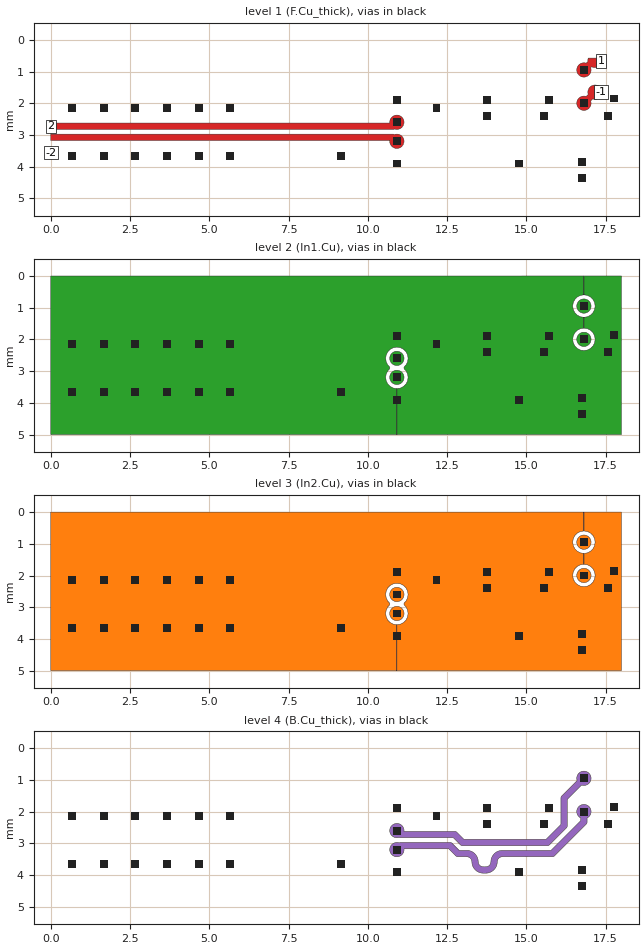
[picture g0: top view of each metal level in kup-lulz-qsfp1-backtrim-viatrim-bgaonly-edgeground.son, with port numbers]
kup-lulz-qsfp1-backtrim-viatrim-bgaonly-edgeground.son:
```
FTYP SONPROJ 19 ! Sonnet Project File
VER 18.56
HEADER
LIC antikernel2.1.61468
DAT 03/17/2024 00:32:26
BUILT_BY_CREATED dxf 18.56 03/15/2024 05:41:27
BUILT_BY_SAVED sonnet 18.56
MDATE 03/17/2024 00:32:26
HDATE 03/17/2024 00:32:26
ANN Created by dxfgeo, Sonnet Software Inc.
END HEADER
DIM
ANG DEG
CAP PF
CON /OH
FREQ GHZ
IND NH
LNG MM
RES OH
END DIM
CONTROL
VARSWP
OPTIONS  -dj
SPEED 1
CACHE_ABS 2
Q_ACC N
END CONTROL
GEO
TMET "Lossless" 0 SUP 0 0 0 0
BMET "Lossless" 0 SUP 0 0 0 0
MET "Copper_1oz+plated_thick_up" 1 TMM 58000000 0.5 0.0432 2
MET "Copper_1oz+plated_thin" 4 NOR 58000000 0.5 0.0432 
MET "Copper_0.5oz_thin" 2 NOR 58000000 0.5 0.0175 
MET "Copper_1oz+plated_thick_down" 3 TMM 58000000 0.5 0.0432 2 CDVY TDWN
BOX 6 18 5 1440 400 20 0
      10 1 1 0 0 0 0 "Air"
      0.05 3.5 1 0.02 0 0 0 "Soldermask"
      0.2021 3.61 1 0.0092 0 0 0 "Isola_FR408HR"
      1.1938 3.61 1 0.0092 0 0 0 "Isola_FR408HR"
      0.2021 3.61 1 0.0092 0 0 0 "Isola_FR408HR"
      0.05 3.5 1 0.02 0 0 0 "Soldermask"
      10 1 1 0 0 0 0 "Air"
TECHLAY METAL F.Cu_thick L1D0 -1 -65534 CAD F.Cu drawing 
1 0 0 N 2148 1 1 100 100 0 0 0 Y
END
END
TECHLAY VIA Via1 L5D0 -7 -65534 CAD Via1 drawing 
VIA POLYGON
1 0 -1 N 2416 1 1 100 100 0 0 0 Y
TOLEVEL 4 RING NOCOVERS
END
END
TECHLAY METAL F.Cu_thin <UNSPECIFIED> -2 -65534 CAD F.Cu_thin drawing 
1 0 1 N 2160 1 1 100 100 0 0 0 Y
END
END
TECHLAY METAL In1.Cu L2D0 -3 -65534 CAD In1.Cu drawing 
2 0 2 N 2163 1 1 100 100 0 0 0 Y
END
END
TECHLAY METAL In2.Cu L3D0 -4 -65534 CAD In2.Cu drawing 
3 0 2 N 2166 1 1 100 100 0 0 0 Y
END
END
TECHLAY METAL B.Cu_thick L4D0 -5 -65534 CAD B.Cu drawing 
4 0 3 N 2169 1 1 100 100 0 0 0 Y
END
END
TECHLAY METAL B.Cu_thin <UNSPECIFIED> -6 -65534 CAD B.Cu_thin drawing 
4 0 1 N 2171 1 1 100 100 0 0 0 Y
END
END
LORGN 0 5 U 
POR1 CUP Auto
GNDREF AUTO
TERMW FEED
POLY 2073 1
35
1 100 0 0 0 17.359 0.66975 
CUPGRP "Auto" LOCAL
ID 2412
END
POR1 CUP Auto
GNDREF AUTO
TERMW FEED
POLY 2074 1
33
-1 100 0 0 0 17.359 1.648 
CUPGRP "Auto" LOCAL
ID 2413
END
POR1 BOX
POLY 2212 1
49
2 100 0 0 0 0 2.723 
POR1 BOX
POLY 2213 1
40
-2 100 0 0 0 0 3.073 
NUM 45
1 81 0 N 2073 1 1 100 100 0 0 0 Y
TLAYNAM F.Cu_thick INH
16.85 1.171
16.872 1.166
16.893 1.16
16.913 1.151
16.933 1.141
16.951 1.129
16.968 1.115
16.984 1.099
16.998 1.082
17.01 1.064
17.02 1.044
17.029 1.024
17.035 1.003
17.04 0.981
17.042 0.959
17.042 0.937
17.04 0.915
17.035 0.893
17.03 0.876
17.06 0.846
17.071 0.851
17.091 0.86
17.112 0.866
17.134 0.871
17.156 0.873
17.178 0.873
17.2 0.871
17.222 0.866
17.243 0.86
17.263 0.851
17.283 0.841
17.301 0.829
17.318 0.815
17.334 0.799
17.348 0.782
17.359 0.7655
17.359 0.574
16.95442857 0.574
16.949 0.593
16.944 0.615
16.942 0.637
16.942 0.659
16.944 0.68
16.889 0.735
16.872 0.73
16.85 0.725
16.828 0.723
16.806 0.723
16.784 0.725
16.762 0.73
16.741 0.736
16.721 0.745
16.701 0.755
16.683 0.767
16.666 0.781
16.65 0.797
16.636 0.814
16.624 0.832
16.614 0.852
16.605 0.872
16.599 0.893
16.594 0.915
16.592 0.937
16.592 0.959
16.594 0.981
16.599 1.003
16.605 1.024
16.614 1.044
16.624 1.064
16.636 1.082
16.65 1.099
16.666 1.115
16.683 1.129
16.701 1.141
16.721 1.151
16.741 1.16
16.762 1.166
16.784 1.171
16.806 1.173
16.828 1.173
16.85 1.171
END
1 103 0 N 2074 1 1 100 100 0 0 0 Y
TLAYNAM F.Cu_thick INH
16.85 2.221
16.872 2.216
16.893 2.21
16.913 2.201
16.933 2.191
16.951 2.179
16.968 2.165
16.984 2.149
16.998 2.132
17.01 2.114
17.02 2.094
17.029 2.074
17.035 2.053
17.04 2.031
17.042 2.009
17.042 1.987
17.04 1.965
17.035 1.943
17.03 1.926
17.095 1.861
17.112 1.866
17.134 1.871
17.156 1.873
17.178 1.873
17.2 1.871
17.222 1.866
17.243 1.86
17.263 1.851
17.283 1.841
17.301 1.829
17.318 1.815
17.334 1.799
17.348 1.782
17.359 1.7655
17.359 1.5305
17.348 1.514
17.334 1.497
17.318 1.481
17.301 1.467
17.283 1.455
17.263 1.445
17.243 1.436
17.222 1.43
17.2 1.425
17.178 1.423
17.156 1.423
17.134 1.425
17.112 1.43
17.091 1.436
17.071 1.445
17.051 1.455
17.033 1.467
17.016 1.481
17 1.497
16.986 1.514
16.974 1.532
16.964 1.552
16.955 1.572
16.949 1.593
16.944 1.615
16.942 1.637
16.942 1.659
16.944 1.681
16.949 1.703
16.954 1.72
16.889 1.785
16.872 1.78
16.85 1.775
16.828 1.773
16.806 1.773
16.784 1.775
16.762 1.78
16.741 1.786
16.721 1.795
16.701 1.805
16.683 1.817
16.666 1.831
16.65 1.847
16.636 1.864
16.624 1.882
16.614 1.902
16.605 1.922
16.599 1.943
16.594 1.965
16.592 1.987
16.592 2.009
16.594 2.031
16.599 2.053
16.605 2.074
16.614 2.094
16.624 2.114
16.636 2.132
16.65 2.149
16.666 2.165
16.683 2.179
16.701 2.191
16.721 2.201
16.741 2.21
16.762 2.216
16.784 2.221
16.806 2.223
16.828 2.223
16.85 2.221
END
1 62 0 N 2212 1 1 100 100 0 0 0 Y
TLAYNAM F.Cu_thick INH
10.95 2.821
10.972 2.816
10.993 2.81
11.013 2.801
11.033 2.791
11.051 2.779
11.068 2.765
11.084 2.749
11.098 2.732
11.11 2.714
11.12 2.694
11.129 2.674
11.135 2.653
11.14 2.631
11.142 2.609
11.142 2.587
11.14 2.565
11.135 2.543
11.129 2.522
11.12 2.502
11.11 2.482
11.098 2.464
11.084 2.447
11.068 2.431
11.051 2.417
11.033 2.405
11.013 2.395
10.993 2.386
10.972 2.38
10.95 2.375
10.928 2.373
10.906 2.373
10.884 2.375
10.862 2.38
10.841 2.386
10.821 2.395
10.801 2.405
10.783 2.417
10.766 2.431
10.75 2.447
10.736 2.464
10.724 2.482
10.714 2.502
10.705 2.522
10.699 2.543
10.694 2.565
10.692 2.587
10.692 2.609
10.693 2.623
0 2.623
0 2.823
10.797 2.823
10.807 2.822
10.817 2.82
10.835 2.814
10.841 2.81
10.842 2.81
10.862 2.816
10.884 2.821
10.906 2.823
10.928 2.823
10.95 2.821
END
1 62 0 N 2213 1 1 100 100 0 0 0 Y
TLAYNAM F.Cu_thick INH
10.95 3.421
10.972 3.416
10.993 3.41
11.013 3.401
11.033 3.391
11.051 3.379
11.068 3.365
11.084 3.349
11.098 3.332
11.11 3.314
11.12 3.294
11.129 3.274
11.135 3.253
11.14 3.231
11.142 3.209
11.142 3.187
11.14 3.165
11.135 3.143
11.129 3.122
11.12 3.102
11.11 3.082
11.098 3.064
11.084 3.047
11.068 3.031
11.051 3.017
11.033 3.005
11.013 2.995
10.993 2.986
10.972 2.98
10.95 2.975
10.928 2.973
10.906 2.973
10.884 2.975
10.862 2.98
10.841 2.986
10.835 2.982
10.826 2.979
10.816 2.976
10.807 2.974
10.797 2.973
0 2.973
0 3.173
10.693 3.173
10.692 3.187
10.692 3.209
10.694 3.231
10.699 3.253
10.705 3.274
10.714 3.294
10.724 3.314
10.736 3.332
10.75 3.349
10.766 3.365
10.783 3.379
10.801 3.391
10.821 3.401
10.841 3.41
10.862 3.416
10.884 3.421
10.906 3.423
10.928 3.423
10.95 3.421
END
VIA POLYGON
1 5 -1 N 1304 1 1 100 100 0 0 0 Y
TOLEVEL 4 RING NOCOVERS
TLAYNAM Via1 INH
10.792 4.023
10.792 3.773
11.042 3.773
11.042 4.023
10.792 4.023
END
VIA POLYGON
1 5 -1 N 1309 1 1 100 100 0 0 0 Y
TOLEVEL 4 RING NOCOVERS
TLAYNAM Via1 INH
9.042 3.773
9.042 3.523
9.292 3.523
9.292 3.773
9.042 3.773
END
VIA POLYGON
1 5 -1 N 1310 1 1 100 100 0 0 0 Y
TOLEVEL 4 RING NOCOVERS
TLAYNAM Via1 INH
10.792 3.323
10.792 3.073
11.042 3.073
11.042 3.323
10.792 3.323
END
VIA POLYGON
1 5 -1 N 1317 1 1 100 100 0 0 0 Y
TOLEVEL 4 RING NOCOVERS
TLAYNAM Via1 INH
10.792 2.723
10.792 2.473
11.042 2.473
11.042 2.723
10.792 2.723
END
VIA POLYGON
1 5 -1 N 1321 1 1 100 100 0 0 0 Y
TOLEVEL 4 RING NOCOVERS
TLAYNAM Via1 INH
12.042 2.273
12.042 2.023
12.292 2.023
12.292 2.273
12.042 2.273
END
VIA POLYGON
1 5 -1 N 1324 1 1 100 100 0 0 0 Y
TOLEVEL 4 RING NOCOVERS
TLAYNAM Via1 INH
16.692 2.123
16.692 1.873
16.942 1.873
16.942 2.123
16.692 2.123
END
VIA POLYGON
1 5 -1 N 1328 1 1 100 100 0 0 0 Y
TOLEVEL 4 RING NOCOVERS
TLAYNAM Via1 INH
10.792 2.023
10.792 1.773
11.042 1.773
11.042 2.023
10.792 2.023
END
VIA POLYGON
1 5 -1 N 1339 1 1 100 100 0 0 0 Y
TOLEVEL 4 RING NOCOVERS
TLAYNAM Via1 INH
16.692 1.073
16.692 0.823
16.942 0.823
16.942 1.073
16.692 1.073
END
VIA POLYGON
1 5 -1 N 1376 1 1 100 100 0 0 0 Y
TOLEVEL 4 RING NOCOVERS
TLAYNAM Via1 INH
4.542 3.773
4.542 3.523
4.792 3.523
4.792 3.773
4.542 3.773
END
VIA POLYGON
1 5 -1 N 1377 1 1 100 100 0 0 0 Y
TOLEVEL 4 RING NOCOVERS
TLAYNAM Via1 INH
5.542 3.773
5.542 3.523
5.792 3.523
5.792 3.773
5.542 3.773
END
VIA POLYGON
1 5 -1 N 1389 1 1 100 100 0 0 0 Y
TOLEVEL 4 RING NOCOVERS
TLAYNAM Via1 INH
0.542 2.273
0.542 2.023
0.792 2.023
0.792 2.273
0.542 2.273
END
VIA POLYGON
1 5 -1 N 1390 1 1 100 100 0 0 0 Y
TOLEVEL 4 RING NOCOVERS
TLAYNAM Via1 INH
1.542 2.273
1.542 2.023
1.792 2.023
1.792 2.273
1.542 2.273
END
VIA POLYGON
1 5 -1 N 1391 1 1 100 100 0 0 0 Y
TOLEVEL 4 RING NOCOVERS
TLAYNAM Via1 INH
2.542 2.273
2.542 2.023
2.792 2.023
2.792 2.273
2.542 2.273
END
VIA POLYGON
1 5 -1 N 1392 1 1 100 100 0 0 0 Y
TOLEVEL 4 RING NOCOVERS
TLAYNAM Via1 INH
3.542 2.273
3.542 2.023
3.792 2.023
3.792 2.273
3.542 2.273
END
VIA POLYGON
1 5 -1 N 1393 1 1 100 100 0 0 0 Y
TOLEVEL 4 RING NOCOVERS
TLAYNAM Via1 INH
4.542 2.273
4.542 2.023
4.792 2.023
4.792 2.273
4.542 2.273
END
VIA POLYGON
1 5 -1 N 1399 1 1 100 100 0 0 0 Y
TOLEVEL 4 RING NOCOVERS
TLAYNAM Via1 INH
5.542 2.273
5.542 2.023
5.792 2.023
5.792 2.273
5.542 2.273
END
VIA POLYGON
1 5 -1 N 1404 1 1 100 100 0 0 0 Y
TOLEVEL 4 RING NOCOVERS
TLAYNAM Via1 INH
0.542 3.773
0.542 3.523
0.792 3.523
0.792 3.773
0.542 3.773
END
VIA POLYGON
1 5 -1 N 1405 1 1 100 100 0 0 0 Y
TOLEVEL 4 RING NOCOVERS
TLAYNAM Via1 INH
1.542 3.773
1.542 3.523
1.792 3.523
1.792 3.773
1.542 3.773
END
VIA POLYGON
1 5 -1 N 1406 1 1 100 100 0 0 0 Y
TOLEVEL 4 RING NOCOVERS
TLAYNAM Via1 INH
2.542 3.773
2.542 3.523
2.792 3.523
2.792 3.773
2.542 3.773
END
VIA POLYGON
1 5 -1 N 1408 1 1 100 100 0 0 0 Y
TOLEVEL 4 RING NOCOVERS
TLAYNAM Via1 INH
3.542 3.773
3.542 3.523
3.792 3.523
3.792 3.773
3.542 3.773
END
VIA POLYGON
1 5 -1 N 2178 1 1 100 100 0 0 0 Y
TOLEVEL 4 RING NOCOVERS
TLAYNAM Via1 INH
17.642 1.973
17.642 1.723
17.892 1.723
17.892 1.973
17.642 1.973
END
VIA POLYGON
1 5 -1 N 2179 1 1 100 100 0 0 0 Y
TOLEVEL 4 RING NOCOVERS
TLAYNAM Via1 INH
16.642 4.473
16.642 4.223
16.892 4.223
16.892 4.473
16.642 4.473
END
VIA POLYGON
1 5 -1 N 2180 1 1 100 100 0 0 0 Y
TOLEVEL 4 RING NOCOVERS
TLAYNAM Via1 INH
15.442 2.523
15.442 2.273
15.692 2.273
15.692 2.523
15.442 2.523
END
VIA POLYGON
1 5 -1 N 2181 1 1 100 100 0 0 0 Y
TOLEVEL 4 RING NOCOVERS
TLAYNAM Via1 INH
13.642 2.523
13.642 2.273
13.892 2.273
13.892 2.523
13.642 2.523
END
VIA POLYGON
1 5 -1 N 2182 1 1 100 100 0 0 0 Y
TOLEVEL 4 RING NOCOVERS
TLAYNAM Via1 INH
17.442 2.523
17.442 2.273
17.692 2.273
17.692 2.523
17.442 2.523
END
VIA POLYGON
1 5 -1 N 2183 1 1 100 100 0 0 0 Y
TOLEVEL 4 RING NOCOVERS
TLAYNAM Via1 INH
14.642 4.023
14.642 3.773
14.892 3.773
14.892 4.023
14.642 4.023
END
VIA POLYGON
1 5 -1 N 2184 1 1 100 100 0 0 0 Y
TOLEVEL 4 RING NOCOVERS
TLAYNAM Via1 INH
13.642 2.023
13.642 1.773
13.892 1.773
13.892 2.023
13.642 2.023
END
VIA POLYGON
1 5 -1 N 2185 1 1 100 100 0 0 0 Y
TOLEVEL 4 RING NOCOVERS
TLAYNAM Via1 INH
16.642 3.973
16.642 3.723
16.892 3.723
16.892 3.973
16.642 3.973
END
VIA POLYGON
1 5 -1 N 2186 1 1 100 100 0 0 0 Y
TOLEVEL 4 RING NOCOVERS
TLAYNAM Via1 INH
15.592 2.023
15.592 1.773
15.842 1.773
15.842 2.023
15.592 2.023
END
2 65 2 N 506 1 1 100 100 0 0 0 Y
TLAYNAM In1.Cu INH
10.906 3.423
10.884 3.421
10.862 3.416
10.841 3.41
10.821 3.401
10.801 3.391
10.783 3.379
10.766 3.365
10.75 3.349
10.736 3.332
10.724 3.314
10.714 3.294
10.705 3.274
10.699 3.253
10.694 3.231
10.692 3.209
10.692 3.187
10.694 3.165
10.699 3.143
10.705 3.122
10.714 3.102
10.724 3.082
10.736 3.064
10.75 3.047
10.766 3.031
10.783 3.017
10.801 3.005
10.821 2.995
10.841 2.986
10.862 2.98
10.884 2.975
10.906 2.973
10.928 2.973
10.95 2.975
10.972 2.98
10.993 2.986
11.013 2.995
11.033 3.005
11.051 3.017
11.068 3.031
11.084 3.047
11.098 3.064
11.11 3.082
11.12 3.102
11.129 3.122
11.135 3.143
11.14 3.165
11.142 3.187
11.142 3.209
11.14 3.231
11.135 3.253
11.129 3.274
11.12 3.294
11.11 3.314
11.098 3.332
11.084 3.349
11.068 3.365
11.051 3.379
11.033 3.391
11.013 3.401
10.993 3.41
10.972 3.416
10.95 3.421
10.928 3.423
10.906 3.423
END
2 65 2 N 512 1 1 100 100 0 0 0 Y
TLAYNAM In1.Cu INH
10.906 2.823
10.884 2.821
10.862 2.816
10.841 2.81
10.821 2.801
10.801 2.791
10.783 2.779
10.766 2.765
10.75 2.749
10.736 2.732
10.724 2.714
10.714 2.694
10.705 2.674
10.699 2.653
10.694 2.631
10.692 2.609
10.692 2.587
10.694 2.565
10.699 2.543
10.705 2.522
10.714 2.502
10.724 2.482
10.736 2.464
10.75 2.447
10.766 2.431
10.783 2.417
10.801 2.405
10.821 2.395
10.841 2.386
10.862 2.38
10.884 2.375
10.906 2.373
10.928 2.373
10.95 2.375
10.972 2.38
10.993 2.386
11.013 2.395
11.033 2.405
11.051 2.417
11.068 2.431
11.084 2.447
11.098 2.464
11.11 2.482
11.12 2.502
11.129 2.522
11.135 2.543
11.14 2.565
11.142 2.587
11.142 2.609
11.14 2.631
11.135 2.653
11.129 2.674
11.12 2.694
11.11 2.714
11.098 2.732
11.084 2.749
11.068 2.765
11.051 2.779
11.033 2.791
11.013 2.801
10.993 2.81
10.972 2.816
10.95 2.821
10.928 2.823
10.906 2.823
END
2 65 2 N 514 1 1 100 100 0 0 0 Y
TLAYNAM In1.Cu INH
16.806 2.223
16.784 2.221
16.762 2.216
16.741 2.21
16.721 2.201
16.701 2.191
16.683 2.179
16.666 2.165
16.65 2.149
16.636 2.132
16.624 2.114
16.614 2.094
16.605 2.074
16.599 2.053
16.594 2.031
16.592 2.009
16.592 1.987
16.594 1.965
16.599 1.943
16.605 1.922
16.614 1.902
16.624 1.882
16.636 1.864
16.65 1.847
16.666 1.831
16.683 1.817
16.701 1.805
16.721 1.795
16.741 1.786
16.762 1.78
16.784 1.775
16.806 1.773
16.828 1.773
16.85 1.775
16.872 1.78
16.893 1.786
16.913 1.795
16.933 1.805
16.951 1.817
16.968 1.831
16.984 1.847
16.998 1.864
17.01 1.882
17.02 1.902
17.029 1.922
17.035 1.943
17.04 1.965
17.042 1.987
17.042 2.009
17.04 2.031
17.035 2.053
17.029 2.074
17.02 2.094
17.01 2.114
16.998 2.132
16.984 2.149
16.968 2.165
16.951 2.179
16.933 2.191
16.913 2.201
16.893 2.21
16.872 2.216
16.85 2.221
16.828 2.223
16.806 2.223
END
2 65 2 N 523 1 1 100 100 0 0 0 Y
TLAYNAM In1.Cu INH
16.806 1.173
16.784 1.171
16.762 1.166
16.741 1.16
16.721 1.151
16.701 1.141
16.683 1.129
16.666 1.115
16.65 1.099
16.636 1.082
16.624 1.064
16.614 1.044
16.605 1.024
16.599 1.003
16.594 0.981
16.592 0.959
16.592 0.937
16.594 0.915
16.599 0.893
16.605 0.872
16.614 0.852
16.624 0.832
16.636 0.814
16.65 0.797
16.666 0.781
16.683 0.767
16.701 0.755
16.721 0.745
16.741 0.736
16.762 0.73
16.784 0.725
16.806 0.723
16.828 0.723
16.85 0.725
16.872 0.73
16.893 0.736
16.913 0.745
16.933 0.755
16.951 0.767
16.968 0.781
16.984 0.797
16.998 0.814
17.01 0.832
17.02 0.852
17.029 0.872
17.035 0.893
17.04 0.915
17.042 0.937
17.042 0.959
17.04 0.981
17.035 1.003
17.029 1.024
17.02 1.044
17.01 1.064
16.998 1.082
16.984 1.099
16.968 1.115
16.951 1.129
16.933 1.141
16.913 1.151
16.893 1.16
16.872 1.166
16.85 1.171
16.828 1.173
16.806 1.173
END
2 100 2 N 2422 1 1 100 100 0 0 0 Y
TLAYNAM In1.Cu INH
18 4.899
18 -0.001
16.817 -0.001
16.817 0.593
16.927 0.611
16.99 0.643
17.026 0.661
17.104 0.739
17.132 0.793
17.155 0.838
17.172 0.948
17.15809091 1.038
17.155 1.058
17.108 1.148
17.104 1.157
17.026 1.235
16.927 1.286
16.817 1.303
16.817 1.643
16.817 1.643
16.927 1.661
17.026 1.711
17.104 1.789
17.155 1.888
17.172 1.998
17.155 2.108
17.104 2.207
17.026 2.285
16.927 2.336
16.817 2.353
16.707 2.336
16.608 2.285
16.53 2.207
16.48 2.108
16.462 1.998
16.48 1.888
16.53 1.789
16.608 1.711
16.707 1.661
16.817 1.643
16.817 1.303
16.707 1.286
16.608 1.235
16.53 1.157
16.48 1.058
16.462 0.948
16.48 0.838
16.53 0.739
16.608 0.661
16.707 0.611
16.817 0.593
16.817 -0.001
14.859 -0.001
14.859 0
0 0
0 5
10.917 5
10.917 3.553
10.807 3.536
10.708 3.485
10.651 3.428
10.63 3.407
10.58 3.308
10.562 3.198
10.58 3.088
10.63 2.989
10.678 2.941
10.696 2.898
10.678 2.855
10.63 2.807
10.58 2.708
10.562 2.598
10.58 2.488
10.63 2.389
10.708 2.311
10.807 2.261
10.917 2.243
11.027 2.261
11.126 2.311
11.204 2.389
11.255 2.488
11.272 2.598
11.265 2.643
11.255 2.708
11.204 2.807
11.156 2.855
11.138 2.898
11.156 2.941
11.204 2.989
11.208 2.998
11.255 3.088
11.272 3.198
11.255 3.308
11.204 3.407
11.126 3.485
11.027 3.536
10.917 3.553
10.917 5
18 5
18 4.899
END
3 65 2 N 645 1 1 100 100 0 0 0 Y
TLAYNAM In2.Cu INH
10.906 3.423
10.884 3.421
10.862 3.416
10.841 3.41
10.821 3.401
10.801 3.391
10.783 3.379
10.766 3.365
10.75 3.349
10.736 3.332
10.724 3.314
10.714 3.294
10.705 3.274
10.699 3.253
10.694 3.231
10.692 3.209
10.692 3.187
10.694 3.165
10.699 3.143
10.705 3.122
10.714 3.102
10.724 3.082
10.736 3.064
10.75 3.047
10.766 3.031
10.783 3.017
10.801 3.005
10.821 2.995
10.841 2.986
10.862 2.98
10.884 2.975
10.906 2.973
10.928 2.973
10.95 2.975
10.972 2.98
10.993 2.986
11.013 2.995
11.033 3.005
11.051 3.017
11.068 3.031
11.084 3.047
11.098 3.064
11.11 3.082
11.12 3.102
11.129 3.122
11.135 3.143
11.14 3.165
11.142 3.187
11.142 3.209
11.14 3.231
11.135 3.253
11.129 3.274
11.12 3.294
11.11 3.314
11.098 3.332
11.084 3.349
11.068 3.365
11.051 3.379
11.033 3.391
11.013 3.401
10.993 3.41
10.972 3.416
10.95 3.421
10.928 3.423
10.906 3.423
END
3 65 2 N 651 1 1 100 100 0 0 0 Y
TLAYNAM In2.Cu INH
10.906 2.823
10.884 2.821
10.862 2.816
10.841 2.81
10.821 2.801
10.801 2.791
10.783 2.779
10.766 2.765
10.75 2.749
10.736 2.732
10.724 2.714
10.714 2.694
10.705 2.674
10.699 2.653
10.694 2.631
10.692 2.609
10.692 2.587
10.694 2.565
10.699 2.543
10.705 2.522
10.714 2.502
10.724 2.482
10.736 2.464
10.75 2.447
10.766 2.431
10.783 2.417
10.801 2.405
10.821 2.395
10.841 2.386
10.862 2.38
10.884 2.375
10.906 2.373
10.928 2.373
10.95 2.375
10.972 2.38
10.993 2.386
11.013 2.395
11.033 2.405
11.051 2.417
11.068 2.431
11.084 2.447
11.098 2.464
11.11 2.482
11.12 2.502
11.129 2.522
11.135 2.543
11.14 2.565
11.142 2.587
11.142 2.609
11.14 2.631
11.135 2.653
11.129 2.674
11.12 2.694
11.11 2.714
11.098 2.732
11.084 2.749
11.068 2.765
11.051 2.779
11.033 2.791
11.013 2.801
10.993 2.81
10.972 2.816
10.95 2.821
10.928 2.823
10.906 2.823
END
3 65 2 N 654 1 1 100 100 0 0 0 Y
TLAYNAM In2.Cu INH
16.806 2.223
16.784 2.221
16.762 2.216
16.741 2.21
16.721 2.201
16.701 2.191
16.683 2.179
16.666 2.165
16.65 2.149
16.636 2.132
16.624 2.114
16.614 2.094
16.605 2.074
16.599 2.053
16.594 2.031
16.592 2.009
16.592 1.987
16.594 1.965
16.599 1.943
16.605 1.922
16.614 1.902
16.624 1.882
16.636 1.864
16.65 1.847
16.666 1.831
16.683 1.817
16.701 1.805
16.721 1.795
16.741 1.786
16.762 1.78
16.784 1.775
16.806 1.773
16.828 1.773
16.85 1.775
16.872 1.78
16.893 1.786
16.913 1.795
16.933 1.805
16.951 1.817
16.968 1.831
16.984 1.847
16.998 1.864
17.01 1.882
17.02 1.902
17.029 1.922
17.035 1.943
17.04 1.965
17.042 1.987
17.042 2.009
17.04 2.031
17.035 2.053
17.029 2.074
17.02 2.094
17.01 2.114
16.998 2.132
16.984 2.149
16.968 2.165
16.951 2.179
16.933 2.191
16.913 2.201
16.893 2.21
16.872 2.216
16.85 2.221
16.828 2.223
16.806 2.223
END
3 65 2 N 662 1 1 100 100 0 0 0 Y
TLAYNAM In2.Cu INH
16.806 1.173
16.784 1.171
16.762 1.166
16.741 1.16
16.721 1.151
16.701 1.141
16.683 1.129
16.666 1.115
16.65 1.099
16.636 1.082
16.624 1.064
16.614 1.044
16.605 1.024
16.599 1.003
16.594 0.981
16.592 0.959
16.592 0.937
16.594 0.915
16.599 0.893
16.605 0.872
16.614 0.852
16.624 0.832
16.636 0.814
16.65 0.797
16.666 0.781
16.683 0.767
16.701 0.755
16.721 0.745
16.741 0.736
16.762 0.73
16.784 0.725
16.806 0.723
16.828 0.723
16.85 0.725
16.872 0.73
16.893 0.736
16.913 0.745
16.933 0.755
16.951 0.767
16.968 0.781
16.984 0.797
16.998 0.814
17.01 0.832
17.02 0.852
17.029 0.872
17.035 0.893
17.04 0.915
17.042 0.937
17.042 0.959
17.04 0.981
17.035 1.003
17.029 1.024
17.02 1.044
17.01 1.064
16.998 1.082
16.984 1.099
16.968 1.115
16.951 1.129
16.933 1.141
16.913 1.151
16.893 1.16
16.872 1.166
16.85 1.171
16.828 1.173
16.806 1.173
END
3 100 2 N 2423 1 1 100 100 0 0 0 Y
TLAYNAM In2.Cu INH
18 4.899
18 -0.001
16.817 -0.001
16.817 0.593
16.927 0.611
16.99 0.643
17.026 0.661
17.104 0.739
17.132 0.793
17.155 0.838
17.172 0.948
17.15809091 1.038
17.155 1.058
17.108 1.148
17.104 1.157
17.026 1.235
16.927 1.286
16.817 1.303
16.817 1.303
16.817 1.643
16.927 1.661
17.026 1.711
17.104 1.789
17.155 1.888
17.172 1.998
17.155 2.108
17.104 2.207
17.026 2.285
16.927 2.336
16.817 2.353
16.707 2.336
16.608 2.285
16.53 2.207
16.48 2.108
16.462 1.998
16.48 1.888
16.53 1.789
16.608 1.711
16.707 1.661
16.817 1.643
16.817 1.303
16.707 1.286
16.608 1.235
16.53 1.157
16.48 1.058
16.462 0.948
16.48 0.838
16.53 0.739
16.608 0.661
16.707 0.611
16.817 0.593
16.817 -0.001
14.859 -0.001
14.859 0
0 0
0 5
10.917 5
10.917 3.553
10.807 3.536
10.708 3.485
10.651 3.428
10.63 3.407
10.58 3.308
10.562 3.198
10.58 3.088
10.63 2.989
10.678 2.941
10.696 2.898
10.678 2.855
10.63 2.807
10.58 2.708
10.562 2.598
10.58 2.488
10.63 2.389
10.708 2.311
10.807 2.261
10.917 2.243
11.027 2.261
11.126 2.311
11.204 2.389
11.255 2.488
11.272 2.598
11.265 2.643
11.255 2.708
11.204 2.807
11.156 2.855
11.138 2.898
11.156 2.941
11.204 2.989
11.208 2.998
11.255 3.088
11.272 3.198
11.255 3.308
11.204 3.407
11.126 3.485
11.027 3.536
10.917 3.553
10.917 5
18 5
18 4.899
END
4 397 3 N 839 1 1 100 100 0 0 0 Y
TLAYNAM B.Cu_thick INH
13.637 3.941
13.576 3.935
13.567 3.933
13.557 3.93
13.552 3.929
13.548 3.927
13.52 3.918
13.518 3.918
13.5 3.912
13.492 3.907
13.49 3.906
13.458 3.889
13.455 3.888
13.439 3.878
13.438 3.877
13.431 3.871
13.402 3.847
13.4 3.846
13.392 3.839
13.385 3.832
13.379 3.825
13.378 3.824
13.353 3.793
13.347 3.786
13.341 3.777
13.336 3.769
13.335 3.766
13.322 3.741
13.317 3.733
13.312 3.724
13.308 3.715
13.291 3.657
13.289 3.648
13.288 3.638
13.288 3.637
13.283 3.587
13.283 3.585
13.281 3.558
13.273 3.528
13.26 3.501
13.244 3.479
13.227 3.462
13.204 3.445
13.177 3.433
13.151 3.426
13.121 3.423
12.84 3.423
12.83 3.422
12.82 3.42
12.802 3.414
12.793 3.409
12.785 3.403
12.778 3.397
12.777 3.397
12.77 3.39
12.764 3.383
12.554 3.173
11.141 3.173
11.142 3.187
11.142 3.209
11.14 3.231
11.135 3.253
11.129 3.274
11.12 3.294
11.11 3.314
11.098 3.332
11.084 3.349
11.068 3.365
11.051 3.379
11.033 3.391
11.013 3.401
10.993 3.41
10.972 3.416
10.95 3.421
10.928 3.423
10.906 3.423
10.884 3.421
10.862 3.416
10.841 3.41
10.821 3.401
10.801 3.391
10.783 3.379
10.766 3.365
10.75 3.349
10.736 3.332
10.724 3.314
10.714 3.294
10.705 3.274
10.699 3.253
10.694 3.231
10.692 3.209
10.692 3.187
10.694 3.165
10.699 3.143
10.705 3.122
10.714 3.102
10.724 3.082
10.736 3.064
10.75 3.047
10.766 3.031
10.783 3.017
10.801 3.005
10.821 2.995
10.841 2.986
10.862 2.98
10.884 2.975
10.906 2.973
10.928 2.973
10.95 2.975
10.972 2.98
10.993 2.986
10.999 2.982
11.008 2.979
11.018 2.976
11.027 2.974
11.037 2.973
12.6 2.973
12.61 2.974
12.619 2.976
12.629 2.979
12.638 2.982
12.646 2.987
12.655 2.993
12.662 2.999
12.669 3.006
12.675 3.013
12.886 3.223
13.129 3.223
13.139 3.224
13.171 3.227
13.18 3.228
13.183 3.228
13.185 3.229
13.19 3.229
13.192 3.23
13.199 3.231
13.202 3.232
13.203 3.232
13.242 3.243
13.243 3.243
13.246 3.244
13.251 3.246
13.261 3.251
13.288 3.264
13.289 3.264
13.298 3.268
13.306 3.273
13.307 3.274
13.317 3.28
13.32 3.283
13.333 3.293
13.341 3.298
13.343 3.3
13.35 3.304
13.352 3.306
13.357 3.31
13.359 3.311
13.366 3.318
13.369 3.322
13.384 3.337
13.388 3.34
13.395 3.347
13.396 3.349
13.4 3.354
13.402 3.356
13.408 3.364
13.409 3.366
13.426 3.39
13.432 3.398
13.437 3.406
13.454 3.442
13.455 3.444
13.459 3.453
13.463 3.465
13.463 3.467
13.474 3.503
13.474 3.505
13.477 3.515
13.478 3.521
13.478 3.523
13.479 3.535
13.482 3.567
13.483 3.578
13.487 3.614
13.495 3.642
13.51 3.67
13.53 3.694
13.551 3.712
13.582 3.728
13.614 3.738
13.646 3.741
13.721 3.741
13.751 3.738
13.777 3.731
13.804 3.719
13.827 3.702
13.844 3.685
13.861 3.661
13.872 3.639
13.881 3.606
13.883 3.579
13.883 3.578
13.888 3.523
13.889 3.521
13.889 3.516
13.89 3.514
13.891 3.507
13.892 3.504
13.892 3.503
13.903 3.464
13.903 3.463
13.904 3.46
13.906 3.455
13.911 3.445
13.924 3.418
13.924 3.417
13.928 3.408
13.933 3.4
13.934 3.399
13.94 3.389
13.943 3.386
13.953 3.373
13.958 3.365
13.96 3.363
13.964 3.356
13.966 3.354
13.97 3.349
13.971 3.347
13.978 3.34
13.982 3.337
13.997 3.322
14 3.318
14.007 3.311
14.009 3.31
14.014 3.306
14.016 3.304
14.024 3.298
14.026 3.297
14.046 3.283
14.049 3.28
14.057 3.274
14.065 3.269
14.104 3.251
14.108 3.249
14.113 3.247
14.115 3.246
14.124 3.243
14.129 3.242
14.163 3.232
14.165 3.232
14.175 3.229
14.181 3.228
14.183 3.228
14.195 3.227
14.227 3.224
14.237 3.223
15.779 3.223
16.717 2.285
16.717 2.199
16.701 2.191
16.683 2.179
16.666 2.165
16.65 2.149
16.636 2.132
16.624 2.114
16.614 2.094
16.605 2.074
16.599 2.053
16.594 2.031
16.592 2.009
16.592 1.987
16.594 1.965
16.599 1.943
16.605 1.922
16.614 1.902
16.624 1.882
16.636 1.864
16.65 1.847
16.666 1.831
16.683 1.817
16.701 1.805
16.721 1.795
16.741 1.786
16.762 1.78
16.784 1.775
16.806 1.773
16.828 1.773
16.85 1.775
16.872 1.78
16.893 1.786
16.913 1.795
16.933 1.805
16.951 1.817
16.968 1.831
16.984 1.847
16.998 1.864
17.01 1.882
17.02 1.902
17.029 1.922
17.035 1.943
17.04 1.965
17.042 1.987
17.042 2.009
17.04 2.031
17.035 2.053
17.029 2.074
17.02 2.094
17.01 2.114
16.998 2.132
16.984 2.149
16.968 2.165
16.951 2.179
16.933 2.191
16.917 2.199
16.917 2.331
16.916 2.341
16.914 2.351
16.908 2.369
16.903 2.378
16.897 2.386
16.891 2.393
15.887 3.397
15.88 3.403
15.872 3.409
15.871 3.409
15.869 3.411
15.863 3.414
15.845 3.42
15.835 3.422
15.825 3.423
14.245 3.423
14.218 3.425
14.185 3.434
14.163 3.445
14.139 3.462
14.122 3.479
14.105 3.502
14.093 3.529
14.086 3.555
14.083 3.585
14.083 3.586
14.078 3.641
14.078 3.643
14.077 3.649
14.074 3.659
14.074 3.661
14.064 3.695
14.063 3.7
14.06 3.709
14.059 3.711
14.057 3.716
14.055 3.72
14.037 3.759
14.032 3.767
14.026 3.775
14.023 3.778
14.009 3.798
14.008 3.8
14.002 3.808
14 3.81
13.996 3.815
13.995 3.817
13.988 3.824
13.984 3.827
13.969 3.842
13.966 3.846
13.959 3.853
13.957 3.854
13.952 3.858
13.95 3.86
13.943 3.864
13.941 3.866
13.933 3.871
13.92 3.881
13.917 3.884
13.907 3.89
13.906 3.891
13.898 3.896
13.889 3.9
13.888 3.9
13.861 3.913
13.851 3.918
13.846 3.92
13.843 3.921
13.842 3.921
13.803 3.932
13.802 3.932
13.799 3.933
13.792 3.934
13.79 3.935
13.785 3.935
13.783 3.936
13.78 3.936
13.771 3.937
13.739 3.94
13.729 3.941
13.637 3.941
END
4 161 3 N 847 1 1 100 100 0 0 0 Y
TLAYNAM B.Cu_thick INH
12.984 3.073
12.974 3.072
12.965 3.07
12.955 3.067
12.946 3.064
12.938 3.059
12.929 3.053
12.922 3.047
12.698 2.823
11.037 2.823
11.027 2.822
11.018 2.82
11.008 2.817
10.999 2.814
10.993 2.81
10.972 2.816
10.95 2.821
10.928 2.823
10.906 2.823
10.884 2.821
10.862 2.816
10.841 2.81
10.821 2.801
10.801 2.791
10.783 2.779
10.766 2.765
10.75 2.749
10.736 2.732
10.724 2.714
10.714 2.694
10.705 2.674
10.699 2.653
10.694 2.631
10.692 2.609
10.692 2.587
10.694 2.565
10.699 2.543
10.705 2.522
10.714 2.502
10.724 2.482
10.736 2.464
10.75 2.447
10.766 2.431
10.783 2.417
10.801 2.405
10.821 2.395
10.841 2.386
10.862 2.38
10.884 2.375
10.906 2.373
10.928 2.373
10.95 2.375
10.972 2.38
10.993 2.386
11.013 2.395
11.033 2.405
11.051 2.417
11.068 2.431
11.084 2.447
11.098 2.464
11.11 2.482
11.12 2.502
11.129 2.522
11.135 2.543
11.14 2.565
11.142 2.587
11.142 2.609
11.141 2.623
12.744 2.623
12.754 2.624
12.764 2.626
12.782 2.632
12.791 2.637
12.799 2.643
12.806 2.649
12.807 2.649
12.814 2.656
12.82 2.663
13.03 2.873
15.623 2.873
16.092 2.404
16.092 1.568
16.093 1.558
16.095 1.549
16.098 1.539
16.101 1.53
16.106 1.522
16.112 1.513
16.118 1.506
16.604 1.02
16.599 1.003
16.594 0.981
16.592 0.959
16.592 0.937
16.594 0.915
16.599 0.893
16.605 0.872
16.614 0.852
16.624 0.832
16.636 0.814
16.65 0.797
16.666 0.781
16.683 0.767
16.701 0.755
16.721 0.745
16.741 0.736
16.762 0.73
16.784 0.725
16.806 0.723
16.828 0.723
16.85 0.725
16.872 0.73
16.893 0.736
16.913 0.745
16.933 0.755
16.951 0.767
16.968 0.781
16.984 0.797
16.998 0.814
17.01 0.832
17.02 0.852
17.029 0.872
17.035 0.893
17.04 0.915
17.042 0.937
17.042 0.959
17.04 0.981
17.035 1.003
17.029 1.024
17.02 1.044
17.01 1.064
16.998 1.082
16.984 1.099
16.968 1.115
16.951 1.129
16.933 1.141
16.913 1.151
16.893 1.16
16.872 1.166
16.85 1.171
16.828 1.173
16.806 1.173
16.784 1.171
16.762 1.166
16.745 1.161
16.292 1.614
16.292 2.45
16.291 2.46
16.287 2.478
16.283 2.488
16.273 2.504
16.266 2.512
15.731 3.047
15.724 3.053
15.715 3.059
15.707 3.064
15.698 3.067
15.688 3.07
15.679 3.072
15.669 3.073
12.984 3.073
END
END GEO
OPT
MAX 100
END OPT
VARSWP
ENABLED Y
FREQ Y AN SWEEP 5.0 40.0 5.0
FREQ N AY ABS_ENTRY 0.1 40.0 -1 300 
END
END VARSWP
3DOPTIONS
GLOBAL 2
ALL 7 1
END 3DOPTIONS
```
